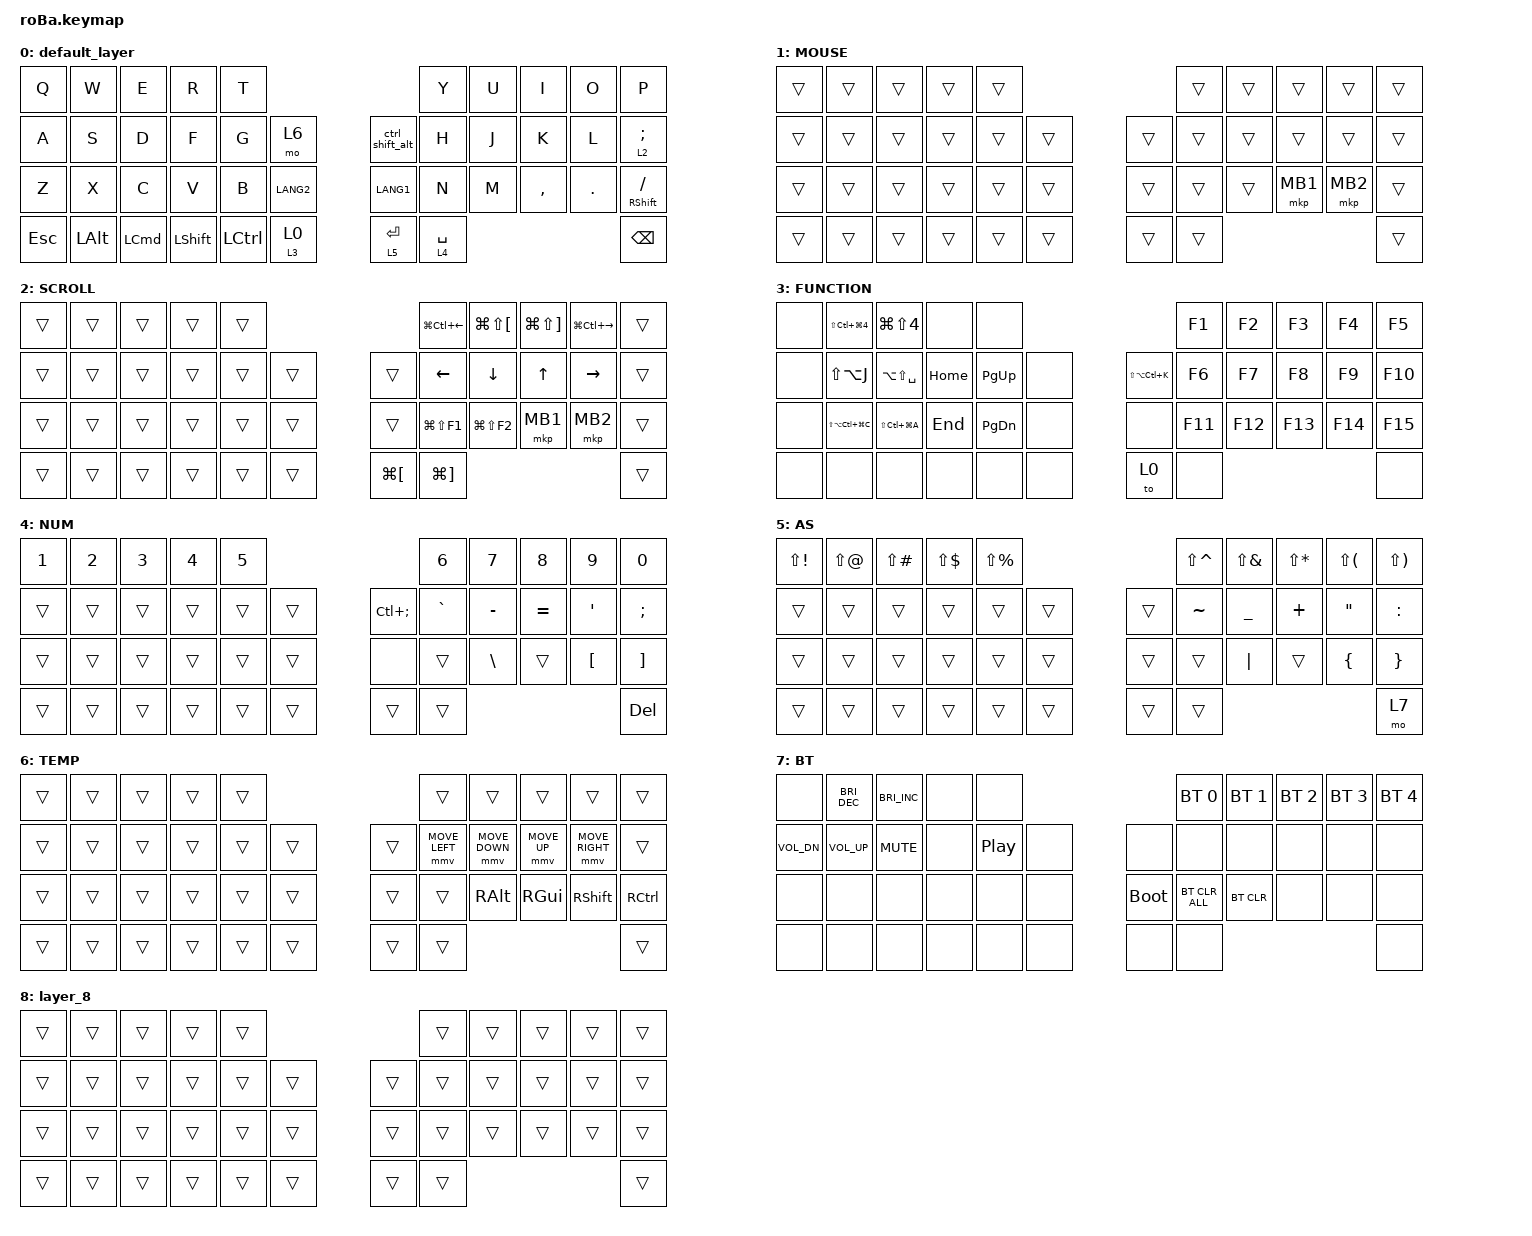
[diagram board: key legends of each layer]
#include <behaviors.dtsi>
#include <dt-bindings/zmk/bt.h>
#include <dt-bindings/zmk/keys.h>
#include <dt-bindings/zmk/pointing.h>

// https://qiita.com/Reotech/items/e048073b3c5831d3e1c2
// #includeのあとのあたりにスクロール量変更の定義を追記

#undef ZMK_POINTING_DEFAULT_SCRL_VAL

#define ZMK_POINTING_DEFAULT_SCRL_VAL 80

&mt {
    flavor = "balanced";
    quick-tap-ms = <0>;
};

&trackball {
    automouse-layer = <1>;
    scroll-layers = <2>;

    // arrows {
    //     layers = <3>;
    //     bindings =
    //         <&kp RIGHT_ARROW>,
    //         <&kp LEFT_ARROW>,
    //         <&kp UP_ARROW>,
    //         <&kp DOWN_ARROW>;
    //     tick = <10>;
    //     wait-ms = <5>;
    //     tap-ms = <5>;
    // };
};

/ {
    combos {
        compatible = "zmk,combos";

        tab {
            bindings = <&kp TAB>;
            key-positions = <11 12>;
            timeout-ms = <50>;
            require-prior-idle-ms = <120>;
        };

        mouse_scroll_mb3 {
            bindings = <&mkp MB3>;
            key-positions = <31 32>;
            layers = <1 2>;
            timeout-ms = <50>;
        };

        lang2 {
            bindings = <&kp LANG2>;
            key-positions = <12 13>;
            timeout-ms = <50>;
            require-prior-idle-ms = <120>;
        };

        lang1 {
            bindings = <&kp LANG1>;
            key-positions = <18 19>;
        };
    };

    macros {
        eisuu_esc: eisuu_esc {
            compatible = "zmk,behavior-macro";
            #binding-cells = <0>;
            wait-ms = <10>;
            tap-ms = <10>;
            bindings = <&to 0 &kp LANG2 &kp ESCAPE>;
            label = "EISUU_ESC";
        };

        to_layer_0: to_layer_0 {
            compatible = "zmk,behavior-macro-one-param";
            #binding-cells = <1>;
            bindings = <&to 0 &macro_param_1to1 &kp MACRO_PLACEHOLDER>;
            label = "TO_LAYER_0";
        };

        // 追加：ホールド開始でLANG2を一回送信 → レイヤー2を押しっぱなし

        ctrl_shift: osm_ctrl_shift {
            label = "OSM_CTRL_SHIFT";
            compatible = "zmk,behavior-macro";
            #binding-cells = <0>;
            bindings = <&sk LCTRL &sk LSHIFT>;
        };

        ctrl_shift_alt: ctrl_shift_alt {
            compatible = "zmk,behavior-macro";
            label = "CTRL_SHIFT_ALT";
            #binding-cells = <0>;
            bindings = <&sk LCTRL &sk LSHIFT &sk LEFT_ALT>;
        };

        cmd_shift: cmd_shift {
            compatible = "zmk,behavior-macro";
            label = "CMD_SHIFT";
            #binding-cells = <0>;
            bindings = <&sk LCMD &sk LSHIFT>;
        };

        cmd_shift_alt: cmd_shift_alt {
            compatible = "zmk,behavior-macro";
            label = "CMD_SHIFT_ALT";
            #binding-cells = <0>;
            bindings = <&sk LCMD &sk LSHIFT &sk LEFT_ALT>;
        };

        esc_lang2: esc_lang2 {
            compatible = "zmk,behavior-macro";
            #binding-cells = <0>;
            bindings = <&kp LANG2 &kp ESC>;
            label = "ESC_LANG2";
        };

        alt_shift: alt_shift {
            compatible = "zmk,behavior-macro";
            label = "ALT_SHIFT";
            #binding-cells = <0>;
            bindings = <&sk LEFT_ALT &sk LSHIFT>;
        };
    };

    behaviors {
        // 追加：SPACEのHold-Tap（Tap=SPACE / Hold=上のマクロ）
        // 追加した (j_kim)

        lt_to_layer_0: lt_to_layer_0 {
            compatible = "zmk,behavior-hold-tap";
            label = "LAYER_TAP_TO_0";
            bindings = <&mo>, <&to_layer_0>;

            #binding-cells = <2>;
            tapping-term-ms = <200>;
        };

        lt_fast: lt_fast {
            compatible = "zmk,behavior-hold-tap";
            label = "LT_FAST";
            bindings = <&mo>, <&kp>;

            #binding-cells = <2>;
            tapping-term-ms = <200>;
        };

        HoldTapLayer: HoldTapLayer {
            compatible = "zmk,behavior-hold-tap";
            label = "HOLDTAPLAYER";
            bindings = <&mo>, <&to>;

            #binding-cells = <2>;
            tapping-term-ms = <200>;
        };
    };

    keymap {
        compatible = "zmk,keymap";

        default_layer {
            bindings = <
&kp Q       &kp W     &kp E     &kp R      &kp T                                                &kp Y             &kp U  &kp I      &kp O    &kp P
&kp A       &kp S     &kp D     &kp F      &kp G      &mo 6                  &ctrl_shift_alt    &kp H             &kp J  &kp K      &kp L    &lt 2 SEMICOLON
&kp Z       &kp X     &kp C     &kp V      &kp B      &kp LANG2              &kp LANG1          &kp N             &kp M  &kp COMMA  &kp DOT  &mt RSHIFT SLASH
&kp ESCAPE  &kp LALT  &kp LCMD  &kp LSHFT  &kp LCTRL  &HoldTapLayer 3 0      &lt_fast 5 RETURN  &lt_fast 4 SPACE                             &kp BACKSPACE
            >;
        };

        MOUSE {
            bindings = <
&trans  &trans  &trans  &trans  &trans                      &trans  &trans  &trans    &trans    &trans
&trans  &trans  &trans  &trans  &trans  &trans      &trans  &trans  &trans  &trans    &trans    &trans
&trans  &trans  &trans  &trans  &trans  &trans      &trans  &trans  &trans  &mkp MB1  &mkp MB2  &trans
&trans  &trans  &trans  &trans  &trans  &trans      &trans  &trans                              &trans
            >;
        };

        SCROLL {
            bindings = <
&trans  &trans  &trans  &trans  &trans                                    &kp LG(LC(LEFT_ARROW))  &kp LG(LS(LEFT_BRACKET))  &kp LG(LS(RIGHT_BRACKET))  &kp LG(LC(RIGHT))  &trans
&trans  &trans  &trans  &trans  &trans  &trans      &trans                &kp LEFT                &kp DOWN                  &kp UP                     &kp RIGHT          &trans
&trans  &trans  &trans  &trans  &trans  &trans      &trans                &kp LG(LS(F1))          &kp LG(LS(F2))            &mkp MB1                   &mkp MB2           &trans
&trans  &trans  &trans  &trans  &trans  &trans      &kp LG(LEFT_BRACKET)  &kp LG(RIGHT_BRACKET)                                                                           &trans
            >;
        };

        FUNCTION {
            bindings = <
&none  &kp LS(LC(LG(NUMBER_4)))  &kp LG(LS(NUMBER_4))  &none     &none                                        &kp F1   &kp F2   &kp F3   &kp F4   &kp F5
&none  &kp LS(LA(J))             &kp LA(LS(SPACE))     &kp HOME  &kp PAGE_UP    &none      &kp LS(LA(LC(K)))  &kp F6   &kp F7   &kp F8   &kp F9   &kp F10
&none  &kp LS(LA(LC(LG(C))))     &kp LS(LC(LG(A)))     &kp END   &kp PAGE_DOWN  &none      &none              &kp F11  &kp F12  &kp F13  &kp F14  &kp F15
&none  &none                     &none                 &none     &none          &none      &to 0              &none                               &none
            >;
        };

        NUM {
            bindings = <
&kp N1  &kp N2  &kp N3  &kp N4  &kp N5                                 &kp N6     &kp N7         &kp N8     &kp N9            &kp N0
&trans  &trans  &trans  &trans  &trans  &trans      &kp LC(SEMICOLON)  &kp GRAVE  &kp MINUS      &kp EQUAL  &kp SQT           &kp SEMICOLON
&trans  &trans  &trans  &trans  &trans  &trans      &none              &trans     &kp BACKSLASH  &trans     &kp LEFT_BRACKET  &kp RIGHT_BRACKET
&trans  &trans  &trans  &trans  &trans  &trans      &trans             &trans                                                 &kp DELETE
            >;
        };

        AS {
            bindings = <
&kp LS(EXCL)  &kp LS(AT)  &kp LS(POUND)  &kp LS(DLLR)  &kp LS(PRCNT)                      &kp LS(CARET)  &kp LS(AMPS)  &kp LS(STAR)  &kp LS(LPAR)  &kp LS(RPAR)
&trans        &trans      &trans         &trans        &trans         &trans      &trans  &kp TILDE      &kp UNDER     &kp PLUS      &kp DQT       &kp COLON
&trans        &trans      &trans         &trans        &trans         &trans      &trans  &trans         &kp PIPE      &trans        &kp LBRC      &kp RBRC
&trans        &trans      &trans         &trans        &trans         &trans      &trans  &trans                                                   &mo 7
            >;
        };

        TEMP {
            bindings = <
&trans  &trans  &trans  &trans  &trans                      &trans          &trans          &trans        &trans           &trans
&trans  &trans  &trans  &trans  &trans  &trans      &trans  &mmv MOVE_LEFT  &mmv MOVE_DOWN  &mmv MOVE_UP  &mmv MOVE_RIGHT  &trans
&trans  &trans  &trans  &trans  &trans  &trans      &trans  &trans          &kp RALT        &kp RGUI      &kp RSHFT        &kp RCTRL
&trans  &trans  &trans  &trans  &trans  &trans      &trans  &trans                                                         &trans
            >;
        };

        BT {
            bindings = <
&none         &kp C_BRIGHTNESS_DEC  &kp C_BRIGHTNESS_INC  &none  &none                                     &bt BT_SEL 0    &bt BT_SEL 1  &bt BT_SEL 2  &bt BT_SEL 3  &bt BT_SEL 4
&kp C_VOL_DN  &kp C_VOL_UP          &kp C_MUTE            &none  &kp C_PLAY_PAUSE  &none      &none        &none           &none         &none         &none         &none
&none         &none                 &none                 &none  &none             &none      &bootloader  &bt BT_CLR_ALL  &bt BT_CLR    &none         &none         &none
&none         &none                 &none                 &none  &none             &none      &none        &none                                                     &none
            >;

            label = "BT";
        };

        layer_8 {
            bindings = <
&trans  &trans  &trans  &trans  &trans                      &trans  &trans  &trans  &trans  &trans
&trans  &trans  &trans  &trans  &trans  &trans      &trans  &trans  &trans  &trans  &trans  &trans
&trans  &trans  &trans  &trans  &trans  &trans      &trans  &trans  &trans  &trans  &trans  &trans
&trans  &trans  &trans  &trans  &trans  &trans      &trans  &trans                          &trans
            >;
        };
    };
};
